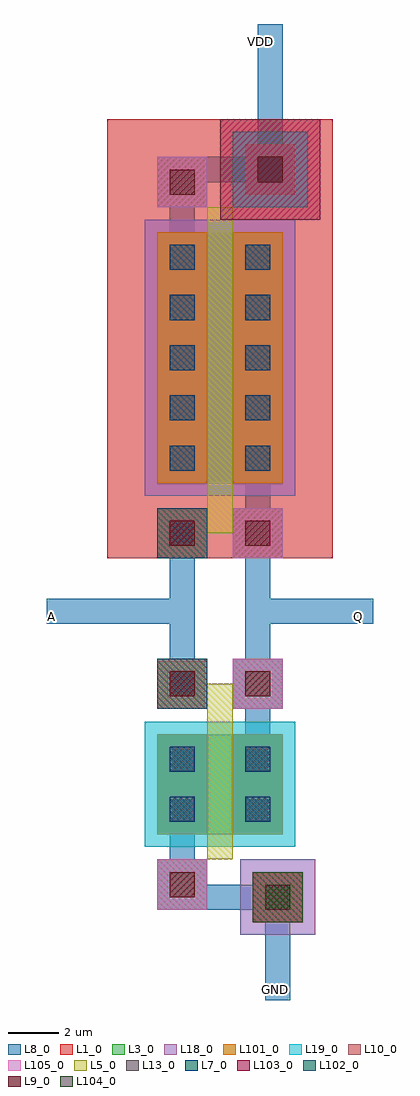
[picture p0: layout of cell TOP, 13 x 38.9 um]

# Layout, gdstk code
import gdstk
lib = gdstk.Library(unit=1e-6, precision=1e-07)
def R(c, l, rs):  # rectangles x0, y0, x1, y1
    for r in rs: c.add(gdstk.rectangle(r[:2], r[2:], *l))
L1_0 = (1, 0)
L3_0 = (3, 0)
L5_0 = (5, 0)
L7_0 = (7, 0)
L8_0 = (8, 0)
L9_0 = (9, 0)
L10_0 = (10, 0)
L13_0 = (13, 0)
L18_0 = (18, 0)
L19_0 = (19, 0)
L101_0 = (101, 0)
L102_0 = (102, 0)
L103_0 = (103, 0)
L104_0 = (104, 0)
L105_0 = (105, 0)

dcont = lib.new_cell('dcont')
R(dcont, L3_0, [(-1,-1,1,1)])
R(dcont, L7_0, [(-0.5,-0.5,0.5,0.5)])
R(dcont, L8_0, [(-1,-1,1,1)])
R(dcont, L13_0, [(-0.5,-0.5,0.5,0.5)])
R(dcont, L101_0, [(-1,-1,1,1)])

pcont = lib.new_cell('pcont')
R(pcont, L5_0, [(-1,-1,1,1)])
R(pcont, L7_0, [(-0.5,-0.5,0.5,0.5)])
R(pcont, L8_0, [(-1,-1,1,1)])
R(pcont, L13_0, [(-0.5,-0.5,0.5,0.5)])
R(pcont, L102_0, [(-1,-1,1,1)])

via = lib.new_cell('Via')
R(via, L8_0, [(-1,-1,1,1)])
R(via, L9_0, [(-0.5,-0.5,0.5,0.5)])
R(via, L10_0, [(-1,-1,1,1)])
R(via, L13_0, [(-0.5,-0.5,0.5,0.5)])
R(via, L105_0, [(-1,-1,1,1)])

dcont1 = lib.new_cell('dcont1')
R(dcont1, L3_0, [(-1,-1,1,1)])
R(dcont1, L7_0, [(-0.5,-0.5,0.5,0.5)])
R(dcont1, L8_0, [(-1,-1,1,1)])
R(dcont1, L13_0, [(-0.5,-0.5,0.5,0.5)])
R(dcont1, L101_0, [(-1,-1,1,1)])

nsubcont = lib.new_cell('nsubcont')
R(nsubcont, L1_0, [(-2,-2,2,2)])
R(nsubcont, L19_0, [(-1.5,-1.5,1.5,1.5)])
R(nsubcont, L103_0, [(-2,-2,2,2)])
nsubcont.add(gdstk.Reference(dcont1, (0,0)))

pch = lib.new_cell('Pch')
R(pch, L1_0, [(-2,0,7,17.5)])
R(pch, L3_0, [(0,3,5,13)])
R(pch, L18_0, [(-0.5,2.5,5.5,13.5)])
pch.add(gdstk.FlexPath([(1,3),(1,13)], 2, ends="flush", simple_path=True, layer=8, datatype=0))  # L8_0
pch.add(gdstk.FlexPath([(4,3),(4,13)], 2, ends="flush", simple_path=True, layer=8, datatype=0))  # L8_0
pch.add(gdstk.FlexPath([(1,12),(1,15)], 1, ends="flush", simple_path=True, layer=8, datatype=0))  # L8_0
pch.add(gdstk.FlexPath([(4,1),(4,4)], 1, ends="flush", simple_path=True, layer=8, datatype=0))  # L8_0
pch.add(gdstk.FlexPath([(2.5,3),(2.5,13)], 1, ends=(1, 1), simple_path=True, layer=5, datatype=0))  # L5_0
pch.add(gdstk.FlexPath([(1,1.5),(2.5,1.5),(2.5,2)], 1, ends="flush", simple_path=True, layer=5, datatype=0))  # L5_0
pch.add(gdstk.Reference(dcont, (1,4)))
pch.add(gdstk.Reference(dcont, (1,6)))
pch.add(gdstk.Reference(dcont, (1,8)))
pch.add(gdstk.Reference(dcont, (1,10)))
pch.add(gdstk.Reference(dcont, (1,12)))
pch.add(gdstk.Reference(dcont, (4,4)))
pch.add(gdstk.Reference(dcont, (4,6)))
pch.add(gdstk.Reference(dcont, (4,8)))
pch.add(gdstk.Reference(dcont, (4,10)))
pch.add(gdstk.Reference(dcont, (4,12)))
pch.add(gdstk.Reference(pcont, (1,1)))
pch.add(gdstk.Reference(via, (1,1)))
pch.add(gdstk.Reference(via, (1,15)))
pch.add(gdstk.Reference(via, (4,1)))
pch.add(gdstk.Reference(nsubcont, (4.5,15.5)))
pch.add(gdstk.Reference(via, (4.5,15.5)))

psubcont = lib.new_cell('psubcont')
R(psubcont, L18_0, [(-1.5,-1.5,1.5,1.5)])
R(psubcont, L104_0, [(-1,-1,1,1)])
psubcont.add(gdstk.Reference(dcont1, (0,0)))

nch_1 = lib.new_cell('Nch$1')
R(nch_1, L3_0, [(0,3,5,7)])
R(nch_1, L19_0, [(-0.5,2.5,5.5,7.5)])
nch_1.add(gdstk.FlexPath([(1,3),(1,7)], 2, ends="flush", simple_path=True, layer=8, datatype=0))  # L8_0
nch_1.add(gdstk.FlexPath([(4,3),(4,7)], 2, ends="flush", simple_path=True, layer=8, datatype=0))  # L8_0
nch_1.add(gdstk.FlexPath([(1,1),(1,4)], 1, ends="flush", simple_path=True, layer=8, datatype=0))  # L8_0
nch_1.add(gdstk.FlexPath([(4,6),(4,9)], 1, ends="flush", simple_path=True, layer=8, datatype=0))  # L8_0
nch_1.add(gdstk.FlexPath([(2.5,3),(2.5,7)], 1, ends=(1, 1), simple_path=True, layer=5, datatype=0))  # L5_0
nch_1.add(gdstk.FlexPath([(1,8.5),(2.5,8.5),(2.5,8)], 1, ends="flush", simple_path=True, layer=5, datatype=0))  # L5_0
nch_1.add(gdstk.Reference(dcont, (1,4)))
nch_1.add(gdstk.Reference(dcont, (1,6)))
nch_1.add(gdstk.Reference(dcont, (4,4)))
nch_1.add(gdstk.Reference(dcont, (4,6)))
nch_1.add(gdstk.Reference(pcont, (1,9)))
nch_1.add(gdstk.Reference(via, (1,9)))
nch_1.add(gdstk.Reference(via, (1,1)))
nch_1.add(gdstk.Reference(via, (4,9)))
nch_1.add(gdstk.Reference(psubcont, (4.8,0.5)))
nch_1.add(gdstk.Reference(via, (4.8,0.5)))

top = lib.new_cell('TOP')
top.add(gdstk.FlexPath([(3.7,1.4),(3.7,-4.3)], 1, ends="flush", simple_path=True, layer=8, datatype=0))  # L8_0
top.add(gdstk.FlexPath([(0.7,1.4),(0.7,-4.3)], 1, ends="flush", simple_path=True, layer=8, datatype=0))  # L8_0
top.add(gdstk.FlexPath([(4,16.1),(0.2,16.1)], 1, ends="flush", simple_path=True, layer=8, datatype=0))  # L8_0
top.add(gdstk.FlexPath([(4.5,-12.9),(0.2,-12.9)], 1, ends="flush", simple_path=True, layer=8, datatype=0))  # L8_0
top.add(gdstk.FlexPath([(4.2,16.1),(4.2,21.9)], 1, ends="flush", simple_path=True, layer=8, datatype=0))  # L8_0
top.add(gdstk.FlexPath([(3.7,-1.5),(8.3,-1.5)], 1, ends="flush", simple_path=True, layer=8, datatype=0))  # L8_0
top.add(gdstk.FlexPath([(0.7,-1.5),(-4.7,-1.5)], 1, ends="flush", simple_path=True, layer=8, datatype=0))  # L8_0
top.add(gdstk.FlexPath([(4.5,-12.9),(4.5,-17)], 1, ends="flush", simple_path=True, layer=8, datatype=0))  # L8_0
top.add(gdstk.Reference(pch, (-0.3,0.6)))
top.add(gdstk.Reference(nch_1, (-0.3,-13.4)))
top.add(gdstk.Label('A', (-4.5,-1.7), layer=8, texttype=0))
top.add(gdstk.Label('Q', (7.7,-1.7), layer=8, texttype=0))
top.add(gdstk.Label('VDD', (3.8,21.2), layer=8, texttype=0))
top.add(gdstk.Label('GND', (4.4,-16.6), layer=8, texttype=0))

lib.write_gds('TOP.gds')
